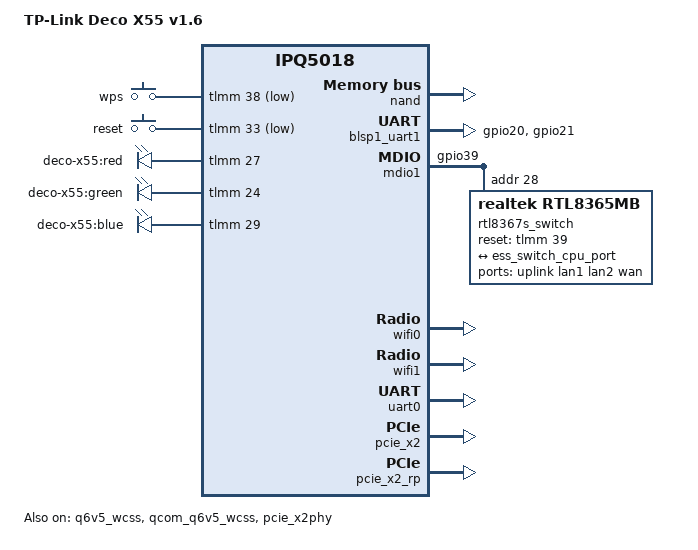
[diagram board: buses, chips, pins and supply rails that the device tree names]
/dts-v1/;

#include "qcom-ipq5018.dtsi"
#include <dt-bindings/input/input.h>
#include <dt-bindings/gpio/gpio.h>
// FIX: Explicitly include the clock definitions, as they are likely missing
#include <dt-bindings/clock/qcom,gcc-ipq5018.h> 

/ {
    model = "TP-Link Deco X55 v1.6";
    compatible = "tplink,deco-x55-v1.6", "qcom,ipq5018";
    interrupt-parent = <&intc>;
    #address-cells = <1>;
    #size-cells = <1>;

    aliases {
        // Point the primary console alias to the working UART (blsp1_uart1)
        serial0 = &blsp1_uart1;
        nand0 = &nand;
        // Point the primary Ethernet alias to the CPU's link endpoint on the switch
        ethernet0 = &ess_switch_cpu_port; 
    };

    chosen {
		bootargs-append = " root=/dev/ubiblock0_0 coherent_pool=2M";
		stdout-path = "serial0:115200n8";
	};

    // CRITICAL: Reserved memory regions (from previous version, assuming correct)
    reserved-memory {
        #address-cells = <2>;
        #size-cells = <2>;
        ranges;

        q6_region: wcnss@4b000000 {
            no-map;
            reg = <0x0 0x4b000000 0x0 0x01800000>; /* 24MB */
        };

        m3_dump: m3_dump@4c800000 {
            no-map;
            reg = <0x0 0x4c800000 0x0 0x100000>; /* 1MB */
        };

        q6_etr_region: q6_etr_dump@4c900000 {
            no-map;
            reg = <0x0 0x4c900000 0x0 0x100000>; /* 1MB */
        };

        q6_caldb_region: q6_caldb_region@4ca00000 {
            no-map;
            reg = <0x0 0x4ca00000 0x0 0x200000>; /* 2MB */
        };

        qcn6102_pcie0: qcn6102_pcie0@4cc00000 {
            no-map;
            reg = <0x0 0x4CC00000 0x0 0x01E00000>; /* 30MB */
        };

        mhi_region1: dma_pool1@4ea00000 {
            compatible = "shared-dma-pool";
            no-map;
            reg = <0x0 0x4ea00000 0x0 0x01000000>; /* 16MB */
        };
    };

    // --- Buttons and LEDs ---
    gpio_keys {
        compatible = "gpio-keys";
        pinctrl-0 = <&button_pins>;
        pinctrl-names = "default";

        button_wps: button@1 {
            label = "wps";
            linux,code = <KEY_WPS_BUTTON>;
            gpios = <&tlmm 38 GPIO_ACTIVE_LOW>;
            debounce-interval = <60>;
        };

        button_reset: button@2 {
            label = "reset";
            linux,code = <KEY_RESTART>;
            gpios = <&tlmm 33 GPIO_ACTIVE_LOW>;
            debounce-interval = <60>;
        };
    };

    leds {
        compatible = "gpio-leds";

        red_led: red {
            label = "deco-x55:red";
            gpios = <&tlmm 27 GPIO_ACTIVE_HIGH>;
            default-state = "off";
        };
        green_led: green {
            label = "deco-x55:green";
            gpios = <&tlmm 24 GPIO_ACTIVE_HIGH>;
            default-state = "off";
        };
        blue_led: blue {
            label = "deco-x55:blue";
            gpios = <&tlmm 29 GPIO_ACTIVE_HIGH>;
            default-state = "on";
        };
    };
};

/* --- NAND FLASH DEFINITION --- */
&nand {
    status = "okay";

    partitions {
        compatible = "fixed-partitions";
        #address-cells = <1>;
        #size-cells = <1>;

        partition@0 { label = "sbl1"; reg = <0x00000000 0x00080000>; read-only; };
        partition@80000 { label = "mibib"; reg = <0x00080000 0x00080000>; read-only; };
        partition@100000 { label = "bootconfig"; reg = <0x00100000 0x00080000>; read-only; };
        partition@180000 { label = "qsee"; reg = <0x00180000 0x00100000>; read-only; };
        partition@280000 { label = "devcfg"; reg = <0x00280000 0x00080000>; read-only; };
        partition@300000 { label = "appsblenv"; reg = <0x00300000 0x00080000>; read-only; };
        partition@380000 { label = "appsbl"; reg = <0x00380000 0x00140000>; read-only; };
        partition@4c0000 { label = "art"; reg = <0x004c0000 0x00100000>; read-only; };
        partition@5c0000 { label = "training"; reg = <0x005c0000 0x00080000>; read-only; };

        partition@640000 {
            label = "firmware";
            reg = <0x00640000 0x02a00000>;
            compatible = "openwrt,ubi";
        };
        partition@3040000 {
            label = "firmware_alt";
            reg = <0x03040000 0x02a00000>;
            compatible = "openwrt,ubi";
        };

        partition@5a40000 { label = "ethphyfw"; reg = <0x05a40000 0x00080000>; read-only; };
        partition@5ac0000 { label = "factory_data"; reg = <0x05ac0000 0x00900000>; };
        partition@63c0000 { label = "runtime_data"; reg = <0x063c0000 0x01100000>; };
    };
};

// --- UART Console Overrides (CRITICAL FIXES: Status and Pin Control) ---

// This is the working UART at 0x78af000, must be set to "okay"
&blsp1_uart1 {
    status = "okay";
    
    // CRITICAL FIX: Reference the pin control group with the correct GPIOs
    pinctrl-0 = <&serial_0_pins>; 
    pinctrl-names = "default";
};

// This is the unused UART at 0x78b0000, must be kept disabled
&blsp1_uart2 {
    status = "disabled";
};

// --- Network Configuration: MDIO and External Switch (RTL8367S confirmed) ---

// Enable the MDIO controller and define the external switch under it
&mdio1 {
    status = "okay";

    // Reverting to single AHB clock as per user request (MST clock was not available)
    clocks = <&gcc GCC_MDIO1_AHB_CLK>; 
    clock-names = "ahb";

    // Switch Reset GPIO
    pinctrl-0 = <&mdio_reset_pins>;
    pinctrl-names = "default";
    phy-reset-gpio = <&tlmm 39 0>; 

    rtl8367s_switch: ethernet-switch@1c {
        compatible = "realtek,rtl8365mb", "realtek,rtl8367s";
        reg = <0x1c>;
        reset-gpios = <&tlmm 39 0>;
        reset-post-delay-ms = <500>;
        realtek,ext-switch-port = <5>;
        status = "okay";

        ports {
            #address-cells = <1>;
            #size-cells = <0>;

            // Port 5 is the external uplink connecting to the CPU's internal port 6
            port@5 {
                reg = <5>;
                label = "uplink";

                switch_port_uplink: endpoint {
                    remote-endpoint = <&ess_switch_cpu_port>; // Link to the CPU port endpoint
                };
            };

            port@0 { reg = <0>; label = "lan1"; };
            port@1 { reg = <1>; label = "lan2"; };
            port@2 { reg = <2>; label = "wan"; };
        };
    };
};

// --- Wireless LAN Configuration (QCN6102 confirmed) ---

&q6v5_wcss {
    status = "okay";
};

&qcom_q6v5_wcss {
    status = "okay";
};

&wifi0 {
    qcom,rproc = <&qcom_q6v5_wcss>;
    qcom,ath11k-calibration-variant = "Default";
    qcom,ath11k-fw-memory-mode = <1>;
    qcom,bdf-addr = <0x4c400000>;
    status = "okay";
};

&wifi1 {
    // FIX: Changed qcom,rproc from <&mhi> to the specific MHI controller <&mhi_1>
    qcom,rproc = <&mhi_1>; 
    qcom,ath11k-calibration-variant = "Default";
    qcom,ath11k-fw-memory-mode = <1>;
    qcom,bdf-addr = <0x4d100000>;
    status = "okay";
};

&wifi2 {
    status = "disabled";
};

// --- Peripherals and Pin Control (Including the now-correct ESS config) ---
&soc {
    uart0: serial@78af000 {
        status = "okay";
    };
    // The ess-instance node is a child of the soc node in the DTSI.
    // Overriding it here places the modifications in the correct parent context.
    ess-instance {
        // This targets the ess-switch@0x39c00000 node inside ess-instance
        ess_switch_node: ess-switch@39c00000 { 
            status = "okay";

            ports {
                #address-cells = <1>;
                #size-cells = <0>;

                // Port 6 is the CPU link to the ESS switch
                port@6 {
                    reg = <6>;
                    label = "cpu";

                    // This is the essential endpoint for the alias and connection
                    ess_switch_cpu_port: endpoint { 
                        remote-endpoint = <&switch_port_uplink>;
                    };
                };
            };
        };
    };
};

&tlmm {
    status = "okay";

    // CRITICAL FIX: Using the GPIOs and function proven to work by your previous file
    serial_0_pins: uart0-state {
        pins = "gpio20", "gpio21";
        function = "blsp0_uart0";
        bias-disable;
    };

    rgmii_pins: rgmii_pins {
        pins = "gpio17", "gpio18", "gpio19", "gpio20", "gpio21", "gpio22",
               "gpio23", "gpio25", "gpio26";
        function = "rgmii";
        bias-pull-down;
    };

    button_pins: button_pins {
        wps_button {
            pins = "gpio38";
            function = "gpio";
            bias-pull-up;
        };
        reset_button {
            pins = "gpio33";
            function = "gpio";
            bias-pull-up;
        };
    };

    // MDIO Reset Pin (GPIO 39)
    mdio_reset_pins: mdio_reset_pins {
        pins = "gpio39";
        function = "gpio";
        bias-disable;
        output-high;
    };
};

&pcie_x2 {
    status = "okay";
    perst-gpio = <&tlmm 15 1>;
};

&pcie_x2phy {
    status = "okay";
};

// FIX: Added the PCIe x2 Root Port definition and the mhi_1 controller,
// based on your reference file, to properly initialize the MHI for wifi1 (QCN6102).
&pcie_x2_rp {
    status = "okay";
    
    mhi_1: qcom,mhi@1 {
        reg = <0 0 0 0 0 >;
        qrtr_instance_id = <0x20>;
        #address-cells = <0x2>;
        #size-cells = <0x2>;
        memory-region = <&mhi_region1>;
    };
};

&mhi_region1 {
    status = "okay";
};

&mdio0 {
    status = "disabled";
};
